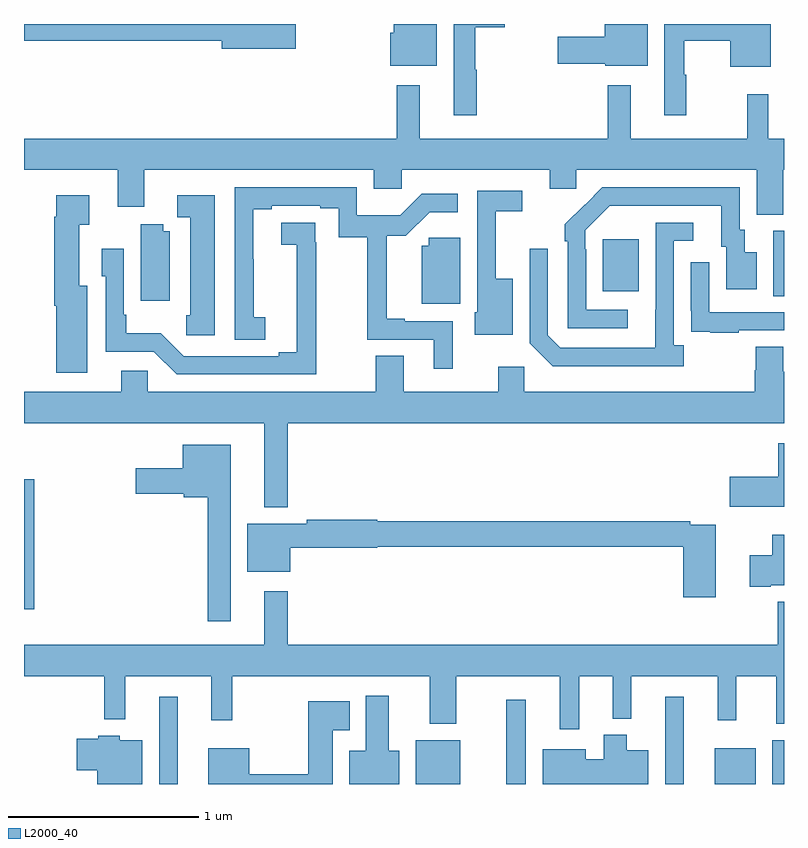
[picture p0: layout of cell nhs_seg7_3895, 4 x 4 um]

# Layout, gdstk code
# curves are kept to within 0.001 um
import gdstk
lib = gdstk.Library(unit=1e-6, precision=1e-09)
def R(c, l, rs):  # rectangles x0, y0, x1, y1
    for r in rs: c.add(gdstk.rectangle(r[:2], r[2:], *l))
def P(c, l, *ps):  # polygons
    for p in ps: c.add(gdstk.Polygon(p, *l))
L2000_40 = (2000, 40)

nhs_seg7_3895 = lib.new_cell('nhs_seg7_3895')
R(nhs_seg7_3895, L2000_40, [(357.711,1048,357.808,1048.459), (359.063,1048,359.296,1048.231), (359.537,1048,359.641,1048.444), (360.375,1048,360.472,1048.459), (360.635,1048,360.85,1048.189), (360.938,1048,361,1048.231), (357,1048.92,357.053,1049.605), (360.944,1050.568,361,1050.912), (360.047,1050.593,360.235,1050.868)])
P(nhs_seg7_3895, L2000_40, [(360.485,1051.734),(360.475,1051.734),(360.475,1051.912),(360.716,1051.912),(360.716,1051.775),(360.931,1051.775),(360.931,1052),(360.371,1052),(360.371,1051.521),(360.485,1051.521)],
  [(359.383,1051.76),(359.375,1051.76),(359.375,1051.982),(359.53,1051.982),(359.53,1052),(359.261,1052),(359.261,1051.521),(359.383,1051.521)],
  [(359.173,1052),(358.946,1052),(358.946,1051.953),(358.928,1051.953),(358.928,1051.781),(359.173,1051.781)],
  [(360.283,1052),(360.056,1052),(360.056,1051.934),(359.808,1051.934),(359.808,1051.792),(360.06,1051.792),(360.06,1051.781),(360.283,1051.781)],
  [(358.429,1052),(357,1052),(357,1051.912),(358.04,1051.912),(358.04,1051.87),(358.429,1051.87)],
  [(360.997,1051.232),(361,1051.232),(361,1051.396),(360.917,1051.396),(360.917,1051.63),(360.807,1051.63),(360.807,1051.396),(360.193,1051.396),(360.193,1051.678),(360.072,1051.678),(360.072,1051.396),(359.083,1051.396),(359.083,1051.678),(358.962,1051.678),(358.962,1051.396),(357,1051.396),(357,1051.232),(357.494,1051.232),(357.494,1051.038),(357.634,1051.038),(357.634,1051.232),(358.841,1051.232),(358.841,1051.134),(358.988,1051.134),(358.988,1051.232),(359.768,1051.232),(359.768,1051.134),(359.907,1051.134),(359.907,1051.232),(360.857,1051.232),(360.857,1050.997),(360.997,1050.997)],
  [(359.256,1050.435),(359.005,1050.435),(359.005,1050.448),(358.91,1050.448),(358.91,1050.885),(359.009,1050.885),(359.135,1051.01),(359.284,1051.01),(359.284,1051.107),(359.094,1051.107),(358.981,1050.994),(358.752,1050.994),(358.752,1051.14),(358.11,1051.14),(358.11,1050.337),(358.27,1050.337),(358.27,1050.457),(358.209,1050.457),(358.209,1050.761),(358.207,1050.761),(358.207,1051.024),(358.303,1051.024),(358.303,1051.044),(358.559,1051.044),(358.559,1051.03),(358.656,1051.03),(358.656,1050.877),(358.807,1050.877),(358.807,1050.339),(359.156,1050.339),(359.156,1050.186),(359.256,1050.186)],
  [(360.178,1050.495),(359.958,1050.495),(359.958,1050.815),(359.955,1050.815),(359.955,1050.915),(360.084,1051.044),(360.671,1051.044),(360.671,1050.828),(360.695,1050.828),(360.695,1050.603),(360.856,1050.603),(360.856,1050.799),(360.793,1050.799),(360.793,1050.918),(360.768,1050.918),(360.768,1051.14),(360.044,1051.14),(359.847,1050.945),(359.847,1050.857),(359.862,1050.857),(359.862,1050.399),(360.178,1050.399)],
  [(359.572,1050.658),(359.483,1050.658),(359.483,1051.014),(359.623,1051.014),(359.623,1051.122),(359.385,1051.122),(359.385,1050.483),(359.373,1050.483),(359.373,1050.365),(359.572,1050.365)],
  [(358.003,1051.099),(357.807,1051.099),(357.807,1050.984),(357.875,1050.984),(357.875,1050.468),(357.853,1050.468),(357.853,1050.363),(358.003,1050.363)],
  [(357.334,1050.622),(357.292,1050.622),(357.292,1050.943),(357.343,1050.943),(357.343,1051.099),(357.17,1051.099),(357.17,1050.986),(357.158,1050.986),(357.158,1050.518),(357.17,1050.518),(357.17,1050.165),(357.334,1050.165)],
  [(360.472,1050.31),(360.42,1050.31),(360.42,1050.858),(360.523,1050.858),(360.523,1050.954),(360.324,1050.954),(360.323,1050.297),(359.823,1050.297),(359.757,1050.363),(359.757,1050.817),(359.661,1050.817),(359.661,1050.321),(359.782,1050.2),(360.472,1050.2)],
  [(358.538,1050.851),(358.532,1050.851),(358.532,1050.953),(358.353,1050.953),(358.353,1050.838),(358.435,1050.838),(358.436,1050.272),(358.34,1050.272),(358.34,1050.252),(357.84,1050.252),(357.719,1050.373),(357.538,1050.373),(357.538,1050.469),(357.525,1050.469),(357.525,1050.817),(357.408,1050.817),(357.408,1050.672),(357.429,1050.672),(357.429,1050.276),(357.684,1050.276),(357.804,1050.156),(358.538,1050.156)],
  [(357.766,1050.91),(357.734,1050.91),(357.734,1050.947),(357.614,1050.947),(357.614,1050.543),(357.766,1050.543)],
  [(359.296,1050.874),(359.13,1050.874),(359.13,1050.832),(359.093,1050.832),(359.093,1050.527),(359.296,1050.527)],
  [(360.761,1050.387),(361,1050.387),(361,1050.483),(360.606,1050.483),(360.606,1050.745),(360.51,1050.745),(360.51,1050.49),(360.511,1050.49),(360.511,1050.381),(360.613,1050.381),(360.613,1050.375),(360.761,1050.375)],
  [(358.387,1049.9),(361,1049.9),(361,1050.17),(360.997,1050.17),(360.997,1050.302),(360.85,1050.302),(360.85,1050.177),(360.845,1050.177),(360.845,1050.064),(359.634,1050.064),(359.634,1050.196),(359.495,1050.196),(359.495,1050.064),(358.999,1050.064),(358.999,1050.254),(358.852,1050.254),(358.852,1050.064),(357.651,1050.064),(357.651,1050.174),(357.512,1050.174),(357.512,1050.064),(357,1050.064),(357,1049.9),(358.265,1049.9),(358.265,1049.456),(358.387,1049.456)],
  [(361,1049.794),(360.97,1049.794),(360.97,1049.617),(360.714,1049.617),(360.714,1049.459),(361,1049.459)],
  [(358.087,1049.785),(357.836,1049.785),(357.836,1049.662),(357.588,1049.662),(357.588,1049.528),(357.84,1049.528),(357.84,1049.51),(357.966,1049.51),(357.966,1048.857),(358.087,1048.857)],
  [(360.64,1049.364),(360.506,1049.364),(360.506,1049.384),(358.86,1049.384),(358.86,1049.39),(358.488,1049.39),(358.488,1049.371),(358.175,1049.371),(358.175,1049.117),(358.402,1049.117),(358.402,1049.243),(358.86,1049.243),(358.86,1049.248),(360.47,1049.248),(360.47,1048.983),(360.64,1048.983)],
  [(360.931,1049.045),(361,1049.045),(361,1049.311),(360.938,1049.311),(360.938,1049.203),(360.819,1049.203),(360.819,1049.038),(360.931,1049.038)],
  [(357,1048.568),(357.423,1048.568),(357.423,1048.34),(357.533,1048.34),(357.533,1048.568),(357.986,1048.568),(357.986,1048.335),(358.096,1048.335),(358.096,1048.568),(359.135,1048.568),(359.135,1048.316),(359.275,1048.316),(359.275,1048.568),(359.819,1048.568),(359.819,1048.287),(359.923,1048.287),(359.923,1048.568),(360.098,1048.568),(360.098,1048.343),(360.197,1048.343),(360.197,1048.568),(360.65,1048.568),(360.65,1048.335),(360.749,1048.335),(360.749,1048.568),(360.959,1048.568),(360.959,1048.316),(361,1048.316),(361,1048.96),(360.967,1048.96),(360.967,1048.732),(358.387,1048.732),(358.387,1049.014),(358.265,1049.014),(358.265,1048.732),(357,1048.732)],
  [(358.975,1048.174),(358.921,1048.174),(358.921,1048.465),(358.799,1048.465),(358.799,1048.174),(358.712,1048.174),(358.712,1048),(358.975,1048)],
  [(358.624,1048.283),(358.714,1048.283),(358.714,1048.435),(358.495,1048.435),(358.495,1048.052),(358.186,1048.052),(358.186,1048.189),(357.971,1048.189),(357.971,1048),(358.624,1048)],
  [(360.286,1048.177),(360.172,1048.177),(360.172,1048.258),(360.05,1048.258),(360.05,1048.129),(359.956,1048.129),(359.956,1048.183),(359.729,1048.183),(359.729,1048),(360.286,1048)],
  [(357.622,1048.231),(357.504,1048.231),(357.504,1048.255),(357.39,1048.255),(357.39,1048.239),(357.278,1048.239),(357.278,1048.073),(357.386,1048.073),(357.386,1048),(357.622,1048)])

lib.write_gds('nhs_seg7_3895.gds')
